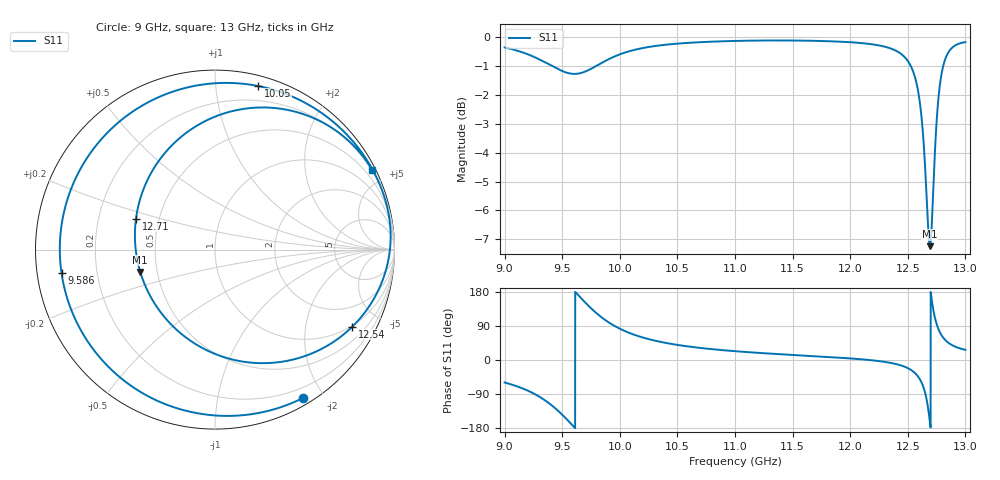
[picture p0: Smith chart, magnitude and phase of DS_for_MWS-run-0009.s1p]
! TOUCHSTONE file generated by CST DESIGN STUDIO
! Date and time: Tue Feb  4 16:06:23 2025
! Project name: C:\Work\MatlabApps\UnitCellOptimizationMatlab\CST\unitcell.cst
! Tree item: Tasks\Sweep1\SPara1\S-Parameters
! Header version: 2024
! Port assignment regex: !\s*Touchstone port\s*([0-9]+)\s*=\s*(CST MWS port|CST DES external port|CST DES block port)\s*(.+)\s* \(\"(.*)\"\)(\s*mode\s*([0-9]+))?.*
! Touchstone port assignment:
! Touchstone port 1 = CST DES external port 1 ("")
# GHz S MA R 50
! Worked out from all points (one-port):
!   4001 points, 9 GHz to 13 GHz, reference 50 ohm
!   lowest |S11| = -7.2 dB at 12.69 GHz (marker M1), VSWR 2.54, Z = 20.1 - j6.16 ohm
!   |S11| at or under -10 dB: nowhere
!   S11 on the Smith chart (normalised r, x): 9 GHz: 0.08, -1.75; 9.586 GHz: 0.07, -0.08; 10.05 GHz: 0.08, +1.29; 12.54 GHz: 0.96, -3.59; 12.71 GHz: 0.37, +0.16; 13 GHz: 0.17, +4.21
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9  0.9611 -59.4
9.159  0.9418 -75.4
9.31  0.9143 -98.4
9.409  0.8932 -119.6
9.5  0.8746 -144.3
9.586  0.8651 -171.3
9.678  0.8696 158.5
9.791  0.8914 125.2
9.886  0.9131 102.8
10  0.9348 82.6
10.052  0.9426 75.3
10.248  0.9626 55.3
10.5  0.9757 39.8
11  0.9863 23.2
11.5  0.988 13.3
12  0.9812 4.2
12.315  0.9622 -5.7
12.5  0.9106 -21.4
12.542  0.8775 -29.3
12.596  0.7931 -46.6
12.64  0.6456 -75.5
12.666  0.5156 -108.4
12.692  0.4346 -163.4
12.708  0.4729 158.6
12.741  0.666 104.6
12.776  0.8196 74.6
12.859  0.9468 44.0
13  0.9816 26.7
